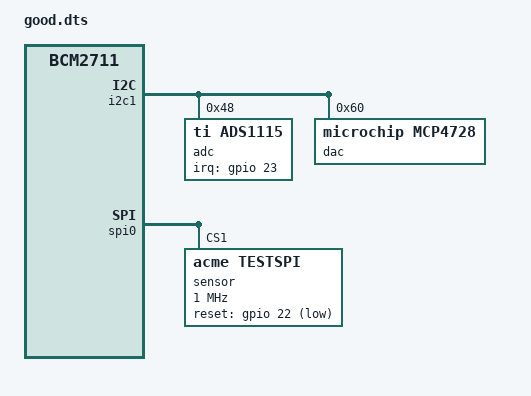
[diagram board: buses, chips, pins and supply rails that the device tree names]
// Overlay that matches the demo board.
/dts-v1/;
/plugin/;

/ {
	compatible = "brcm,bcm2711";

	fragment@0 {
		target = <&i2c1>;
		__overlay__ {
			#address-cells = <1>;
			#size-cells = <0>;
			status = "okay";

			adc@48 {
				compatible = "ti,ads1115";
				reg = <0x48>;
				interrupt-parent = <&gpio>;
				interrupts = <23 2>;
			};

			dac@60 {
				compatible = "microchip,mcp4728";
				reg = <0x60>;
			};
		};
	};

	fragment@1 {
		target = <&spi0>;
		__overlay__ {
			#address-cells = <1>;
			#size-cells = <0>;
			status = "okay";

			sensor@1 {
				compatible = "acme,testspi";
				reg = <1>;
				reset-gpios = <&gpio 22 1>;
				spi-max-frequency = <1000000>;
			};
		};
	};

	fragment@2 {
		target = <&spidev1>;
		__overlay__ {
			status = "disabled";
		};
	};
};
